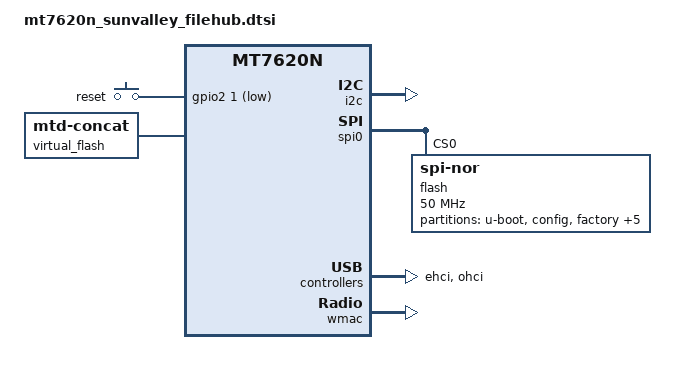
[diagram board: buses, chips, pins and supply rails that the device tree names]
// SPDX-License-Identifier: GPL-2.0-or-later OR MIT

#include "mt7620n.dtsi"

#include <dt-bindings/gpio/gpio.h>
#include <dt-bindings/input/input.h>
#include <dt-bindings/mtd/partitions/uimage.h>

/ {
	aliases {
		label-mac-device = &ethernet;
	};

	keys {
		compatible = "gpio-keys";

		reset {
			label = "reset";
			gpios = <&gpio2 1 GPIO_ACTIVE_LOW>;
			linux,code = <KEY_RESTART>;
		};
	};

	virtual_flash {
		compatible = "mtd-concat";

		devices = <&fwconcat0 &fwconcat1 &fwconcat2>;

		partitions {
			compatible = "fixed-partitions";
			#address-cells = <1>;
			#size-cells = <1>;

			partition@0 {
				compatible = "openwrt,uimage", "denx,uimage";
				openwrt,ih-magic = <IH_MAGIC_OKLI>;
				label = "firmware";
				reg = <0x0 0x0>;
			};
		};
	};
};

&gpio2 {
	status = "okay";
};

&gpio3 {
	status = "okay";
};

&i2c {
	status = "okay";
};

&spi0 {
	status = "okay";

	flash@0 {
		compatible = "jedec,spi-nor";
		reg = <0>;
		spi-max-frequency = <50000000>;
		m25p,fast-read;

		partitions {
			compatible = "fixed-partitions";
			#address-cells = <1>;
			#size-cells = <1>;

			partition@0 {
				label = "u-boot";
				reg = <0x0 0x30000>;
				read-only;
			};

			partition@30000 {
				label = "config";
				reg = <0x30000 0x10000>;
				read-only;
			};

			factory: partition@40000 {
				label = "factory";
				reg = <0x40000 0x10000>;
				read-only;
			};

			partition@50000 {
				label = "loader";
				reg = <0x50000 0x10000>;
				read-only;
			};

			fwconcat1: partition@60000 {
				label = "fwconcat1";
				reg = <0x60000 0x170000>;
			};

			partition@1d0000 {
				label = "u-boot-env";
				reg = <0x1d0000 0x10000>;
			};

			fwconcat2: partition@1e0000 {
				label = "fwconcat2";
				reg = <0x1e0000 0x20000>;
			};

			fwconcat0: partition@200000 {
				label = "fwconcat0";
				reg = <0x200000 0x600000>;
			};
		};
	};
};

&ehci {
	status = "okay";
};

&ohci {
	status = "okay";
};

&ethernet {
	mtd-mac-address = <&factory 0x28>;
};

&wmac {
	ralink,mtd-eeprom = <&factory 0x0>;
};

&state_default {
	gpio {
		groups = "wled", "ephy";
		function = "gpio";
	};
};
